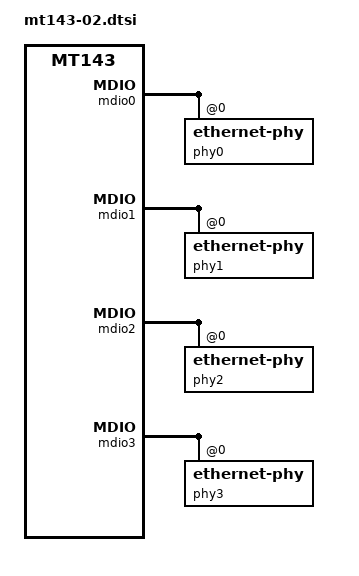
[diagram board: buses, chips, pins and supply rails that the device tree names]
/*
 * Device Tree Source for RCM MT43-02 board (Ethernet)
 *
 * This file is licensed under the terms of the GNU General Public
 * License version 2.  This program is licensed "as is" without
 * any warranty of any kind, whether express or implied.
 */

/ {
	apbf0 {
		mgeth0: mgeth0@0x01014000 {
			status = "ok";
			// mac-address = [ec 17 66 64 08 10];
			phys = <&sgmiiphy>;
			phy-handle = <&phy0>;
			phy-mode = "sgmii";
		};

		mgeth1: mgeth1@0x01015000 {
			status = "ok";
			phys = <&sgmiiphy>;
			phy-handle = <&phy1>;
			phy-mode = "sgmii";
		};

		mgeth2: mgeth2@0x01016000 {
			status = "ok";
			phys = <&sgmiiphy>;
			phy-handle = <&phy2>;
			phy-mode = "sgmii";
		};

		mgeth3: mgeth3@0x01017000 {
			status = "ok";
			phys = <&sgmiiphy>;
			phy-handle = <&phy3>;
			phy-mode = "sgmii";
		};
	};

	apbs2 {
		mdio0: mdio0@0x01080000 {
			status = "ok";

			phy0: ethernet-phy@0 {
				ti,fifo-depth = <DP83867_PHYCR_FIFO_DEPTH_4_B_NIB>;
			};
		};

		mdio1: mdio0@0x01081000 {
			status = "ok";

			phy1: ethernet-phy@0 {
				ti,fifo-depth = <DP83867_PHYCR_FIFO_DEPTH_4_B_NIB>;
			};
		};

		mdio2: mdio0@0x01082000 {
			status = "ok";

			phy2: ethernet-phy@0 {
				ti,fifo-depth = <DP83867_PHYCR_FIFO_DEPTH_4_B_NIB>;
			};
		};

		mdio3: mdio0@0x01083000 {
			status = "ok";

			phy3: ethernet-phy@0 {
				ti,fifo-depth = <DP83867_PHYCR_FIFO_DEPTH_4_B_NIB>;
			};
		};

		sgmiiphy: sgmiphy@0x01086000 {
			status = "ok";
		};
	};
};
